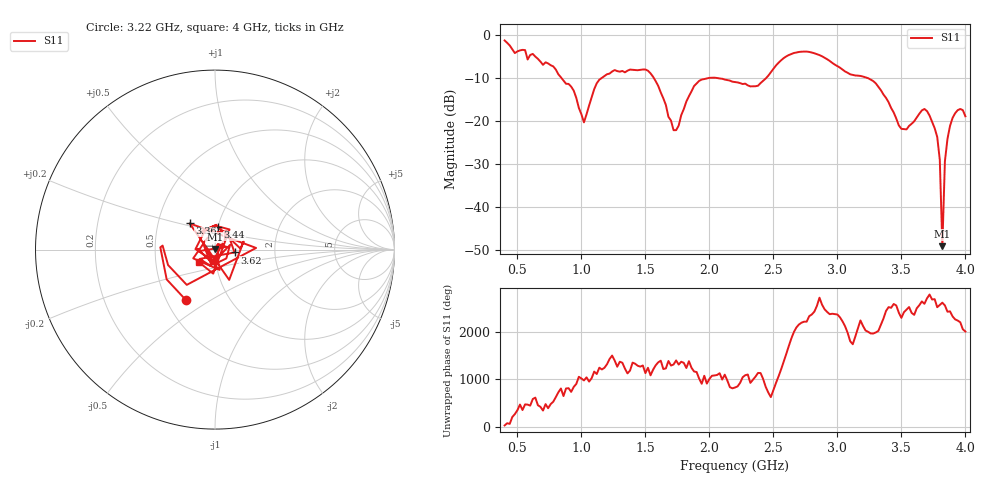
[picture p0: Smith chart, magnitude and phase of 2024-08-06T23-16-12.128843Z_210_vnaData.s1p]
!Created with skrf (http://scikit-rf.org).
# Hz S RI R 50.0
!freq ReS11 ImS11
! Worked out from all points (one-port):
!   181 points, 400 MHz to 4 GHz, reference 50 ohm
!   lowest |S11| = -49.2 dB at 3.82 GHz (marker M1), VSWR 1.01, Z = 49.9 + j0.325 ohm
!   |S11| at or under -10 dB: 1.567 GHz to 1.987 GHz (420.2 MHz wide, 23.6 % of centre); 2.069 GHz to 2.442 GHz (373.4 MHz wide, 16.6 % of centre); 3.24 GHz to end of sweep (the widest 3 of 4)
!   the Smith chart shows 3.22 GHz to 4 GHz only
!   S11 on the Smith chart (normalised r, x): 3.22 GHz: 0.62, -0.39; 3.36 GHz: 0.72, +0.22; 3.44 GHz: 1.00, +0.25; 3.62 GHz: 1.24, -0.04; 4 GHz: 0.83, -0.12
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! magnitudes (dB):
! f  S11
! 400 MHz  -1.2
! 860 MHz  -10.6
! 940 MHz  -12.9
! 1.02 GHz  -20.3
! 1.12 GHz  -11.2
! 1.3 GHz  -8.5
! 1.52 GHz  -8.3
! 1.72 GHz  -22.1
! 1.76 GHz  -21.1
! 1.92 GHz  -10.6
! 2.2 GHz  -10.9
! 2.38 GHz  -11.7
! 2.66 GHz  -4.1
! 3.1 GHz  -9.1
! 3.22 GHz  -9.8
! 3.36 GHz  -13.8
! 3.44 GHz  -18.0
! 3.5 GHz  -21.8
! 3.56 GHz  -21.1
! 3.62 GHz  -19.2
! 3.7 GHz  -17.7
! 3.78 GHz  -23.7
! 3.8 GHz  -29.0
! 3.82 GHz  -49.2
! 3.84 GHz  -29.4
! 3.86 GHz  -24.1
! 3.92 GHz  -18.2
! 4 GHz  -18.9
